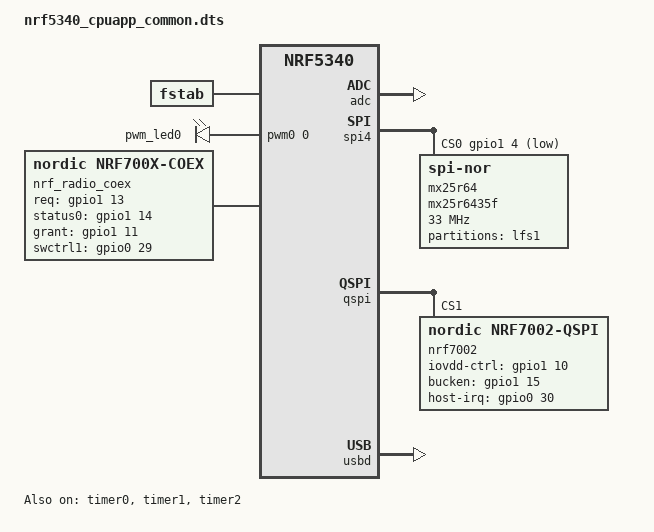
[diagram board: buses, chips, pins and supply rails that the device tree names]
/*
 * Copyright (c) 2022 Nordic Semiconductor ASA
 *
 * SPDX-License-Identifier: LicenseRef-Nordic-5-Clause
 */
#include "nrf5340_cpuapp_common-pinctrl.dtsi"

/ {
	fstab {
		compatible = "zephyr,fstab";
		lfs1: lfs1 {
			compatible = "zephyr,fstab,littlefs";
			mount-point = "/lfs1";
			partition = <&lfs1_part>;
			automount;
			read-size = <16>;
			prog-size = <16>;
			cache-size = <64>;
			lookahead-size = <32>;
			block-cycles = <512>;
		};
	};

	chosen {
		zephyr,bt-hci-ipc = &ipc0;
	};
	
	/* 
	chosen {
		zephyr,console = &cdc_acm_uart0;
		zephyr,shell-uart = &cdc_acm_uart0;
		zephyr,uart-mcumgr = &cdc_acm_uart0;
		zephyr,bt-mon-uart = &cdc_acm_uart0;
		zephyr,bt-c2h-uart = &cdc_acm_uart0;
		zephyr,bt-hci-rpmsg-ipc = &ipc0;
	};
	*/
	/*
	leds {
		compatible = "gpio-leds";
		led0: led_0 {
			gpios = <&gpio1 6 GPIO_ACTIVE_HIGH>;
			label = "Green LED 0";
		};
		led1: led_1 {
			gpios = <&gpio1 7 GPIO_ACTIVE_HIGH>;
			label = "Green LED 1";
		};
	};
	*/
	pwmleds {
		compatible = "pwm-leds";
		pwm_led0: pwm_led_0 {
			pwms = <&pwm0 0 PWM_MSEC(20) PWM_POLARITY_NORMAL>;
		};
	};
	/*
	buttons {
		compatible = "gpio-keys";
		button0: button_0 {
			gpios = <&gpio1 8 (GPIO_PULL_UP | GPIO_ACTIVE_LOW)>;
			label = "Push button 1";
		};
		button1: button_1 {
			gpios = <&gpio1 9 (GPIO_PULL_UP | GPIO_ACTIVE_LOW)>;
			label = "Push button 2";
		};
	};
	*/
	/*
	gpio_fwd: nrf-gpio-forwarder {
		compatible = "nordic,nrf-gpio-forwarder";
		status = "okay";
		uart {
			gpios = <&gpio1 1 0>, <&gpio1 0 0>, <&gpio1 5 0>, <&gpio1 4 0>;
		};
	};
	*/

	nordic_wlan0: nordic_wlan0 {
		compatible = "nordic,wlan0";
		status = "okay";
	};
	
	nrf_radio_coex: nrf7002-coex {
		status = "okay";
		compatible = "nordic,nrf700x-coex";
		req-gpios = <&gpio1 13 GPIO_ACTIVE_HIGH>;
		status0-gpios = <&gpio1 14 GPIO_ACTIVE_HIGH>;
		grant-gpios = <&gpio1 11 GPIO_ACTIVE_HIGH>;
		swctrl1-gpios = <&gpio0 29 GPIO_ACTIVE_HIGH>;
	};

	/* These aliases are provided for compatibility with samples */
	aliases {
		led0 = &led0;
		pwm-led0 = &pwm_led0;
		bootloader-led0 = &led0;
		mcuboot-led0 = &led0;
	};
};

&adc {
	status = "okay";
};

&gpiote {
	status = "okay";
};

&gpio0 {
	status = "okay";
};

&gpio1 {
	status = "okay";
};

&spi4 {
	compatible = "nordic,nrf-spim";
	status = "okay";
	pinctrl-0 = <&spi4_default>;
	pinctrl-1 = <&spi4_sleep>;
	pinctrl-names = "default", "sleep";
	cs-gpios = <&gpio1 4 GPIO_ACTIVE_LOW>;

	mx25r64: mx25r6435f@0 {
		compatible = "jedec,spi-nor";
		reg = <0>;
		spi-max-frequency = <33000000>;
		jedec-id = [c2 28 17];
		sfdp-bfp = [
			e5 20 f1 ff ff ff ff 03 44 eb 08 6b 08 3b 04 bb
			ee ff ff ff ff ff 00 ff ff ff 00 ff 0c 20 0f 52
			10 d8 00 ff 23 72 f5 00 82 ed 04 cc 44 83 68 44
			30 b0 30 b0 f7 c4 d5 5c 00 be 29 ff f0 d0 ff ff
		];
		size = <67108864>;
		has-dpd;
		t-enter-dpd = <10000>;
		t-exit-dpd = <5000>;

		partitions{
			compatible = "fixed-partitions";
			#address-cells = <1>;
			#size-cells = <1>;
			lfs1_part: partition@0 {
				label = "lfs1";
				reg = <0x00000000 0x00040000>;
			};
		};

	};
};

&qspi {
	status = "okay";

	pinctrl-0 = <&qspi_default>;
	pinctrl-1 = <&qspi_sleep>;
	pinctrl-names = "default", "sleep";
	nrf7002: nrf7002@1 {
		status = "okay";
		compatible = "nordic,nrf7002-qspi";
		reg = <1>;
		sck-frequency = <24000000>;
		quad-mode;
		/* Wi-Fi Pins used */
		iovdd-ctrl-gpios = <&gpio1 10 GPIO_ACTIVE_HIGH>;
		bucken-gpios = <&gpio1 15 GPIO_ACTIVE_HIGH>;
		host-irq-gpios = <&gpio0 30 GPIO_ACTIVE_HIGH>;

	};
};

&timer0 {
	status = "okay";
};

&timer1 {
	status = "okay";
};

&timer2 {
	status = "okay";
};


&flash0 {

	partitions {
		compatible = "fixed-partitions";
		#address-cells = <1>;
		#size-cells = <1>;

		boot_partition: partition@0 {
			label = "mcuboot";
			reg = <0x00000000 0x00010000>;
		};
		slot0_partition: partition@10000 {
			label = "image-0";
		};
		slot0_ns_partition: partition@50000 {
			label = "image-0-nonsecure";
		};
		slot1_partition: partition@80000 {
			label = "image-1";
		};
		slot1_ns_partition: partition@c0000 {
			label = "image-1-nonsecure";
		};
		scratch_partition: partition@f0000 {
			label = "image-scratch";
			reg = <0x000f0000 0xa000>;
		};
		storage_partition: partition@fa000 {
			label = "storage";
			reg = <0x000fa000 0x00006000>;
		};
	};
};

zephyr_udc0: &usbd {
	compatible = "nordic,nrf-usbd";
	status = "okay";
};

/ {

	reserved-memory {
		#address-cells = <1>;
		#size-cells = <1>;
		ranges;

		sram0_image: image@20000000 {
			/* Zephyr image(s) memory */
		};

		sram0_s: image_s@20000000 {
			/* Secure image memory */
		};

		sram0_ns: image_ns@20040000 {
			/* Non-Secure image memory */
		};
	};
};

/*
 * Extra IPC channel for custom APP<->NET communication (ICMsg backend).
 *
 * This instance is independent of the default OpenAMP/static-vrings instance
 * (ipc0) that is commonly used for Bluetooth HCI IPC / nRF RPC.
 *
 * We use MBOX channels 2/3 (0/1 are typically used by the default OpenAMP
 * instance).
 */
/ {
	ipc_icmsg0: ipc_icmsg0 {
		compatible = "zephyr,ipc-icmsg";
		tx-region = <&sram0_icmsg_tx>;
		rx-region = <&sram0_icmsg_rx>;
		mboxes = <&mbox 2>, <&mbox 3>;
		mbox-names = "tx", "rx";
		status = "okay";
	};
};

/* Include partition configuration file */
#include "nrf5340_cpuapp_partition_conf.dts"
